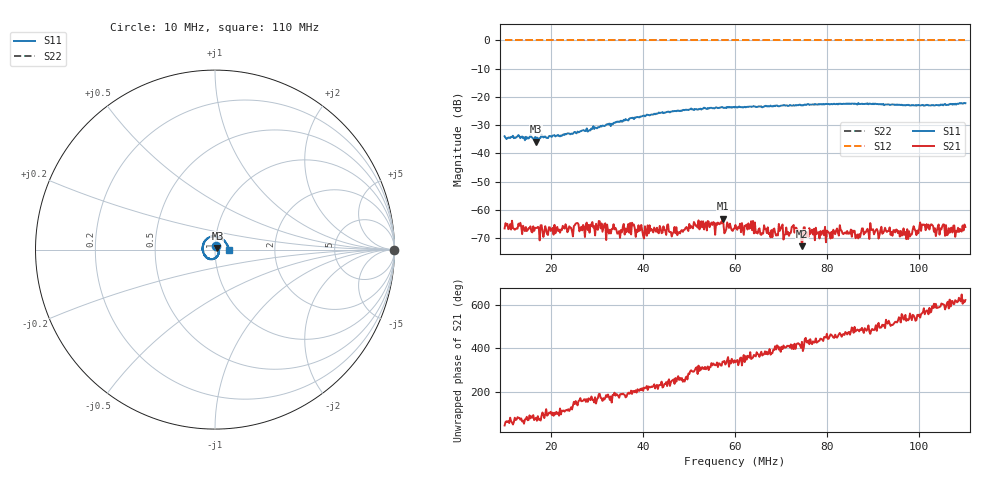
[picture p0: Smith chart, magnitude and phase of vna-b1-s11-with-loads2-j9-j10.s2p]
! Anritsu VNA Master:  Model: MS2034B/10/19/501
! SN:  1337062
! /bd0/ovro-jan-2016/vna-jan/vna-b1-s11-with-loads2-j9-j10.s2p
! Existing Calibration Information:
! TYPE:  Current Settings,  Active Cal Settings
! TIME:  01/13/2016 01:05:59 PM,  01/12/2016 05:57:47 PM
! INTERNAL TEMP:  44.3 C,  46.0 C
! # POINTS:  500,  500
! START FREQ:  10.000 MHz,  10.000 MHz
! STOP FREQ:  110.000 MHz,  110.000 MHz
! SOURCE POWER:  Low,  Low
! IFBW:  100 Hz,  1 kHz
! AVG FACTOR:  1 ,  3
! REF PLANE 1:  0 mm,  0 mm
! REF PLANE 2:  0 mm,  0 mm
! CAL TYPE:  1P2P S11,S21,  1P2P S11,S21
! CAL METHOD:  SOLT,  SOLT
! CAL LINE TYPE:  Coax,  Coax
! DUT PORT 1:  K-Conn(M),  K-Conn(M)
! DUT PORT 2:  N-Conn(M),  N-Conn(M)
! CAL STATUS:  OK: Accuracy High,  --
# GHZ S DB R 50.0
! FREQ.GHZ  S11DB  S11A  S21DB  S21A  S12DB  S12A  S22DB  S22A
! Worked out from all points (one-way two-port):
!   500 points, 10 MHz to 110 MHz, reference 50 ohm
!   highest |S21| = -63.10 dB at 57.29 MHz (marker M1); lowest = -72.9 dB at 74.53 MHz (marker M2)
!   lowest |S11| = -35.8 dB at 16.81 MHz (marker M3), VSWR 1.03, Z = 51.3 + j0.94 ohm
!   |S11| at or under -10 dB: start of sweep to end of sweep
!   |S22| runs from 0.0 to 0.0 dB; largest |S21 - S12| = 1
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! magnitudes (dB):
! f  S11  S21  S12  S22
! 10 MHz  -34.0  -66.6  0.0  0.0
! 16.81 MHz  -35.8  -66.4  0.0  0.0
! 26.83 MHz  -31.9  -67.3  0.0  0.0
! 34.65 MHz  -28.8  -68.4  0.0  0.0
! 37.66 MHz  -27.4  -64.6  0.0  0.0
! 43.47 MHz  -25.6  -68.3  0.0  0.0
! 47.88 MHz  -24.9  -67.9  0.0  0.0
! 51.68 MHz  -24.4  -65.6  0.0  0.0
! 57.29 MHz  -23.7  -63.1  0.0  0.0
! 60.1 MHz  -23.5  -65.4  0.0  0.0
! 63.91 MHz  -23.4  -64.0  0.0  0.0
! 67.72 MHz  -23.1  -69.8  0.0  0.0
! 72.73 MHz  -22.9  -65.4  0.0  0.0
! 74.53 MHz  -22.9  -72.9  0.0  0.0
! 76.73 MHz  -22.7  -67.0  0.0  0.0
! 86.55 MHz  -22.7  -68.8  0.0  0.0
! 89.76 MHz  -22.6  -67.2  0.0  0.0
! 93.37 MHz  -22.6  -67.5  0.0  0.0
! 97.98 MHz  -23.0  -69.5  0.0  0.0
! 100.6 MHz  -22.9  -65.2  0.0  0.0
! 106 MHz  -22.8  -69.0  0.0  0.0
! 110 MHz  -22.2  -66.1  0.0  0.0
